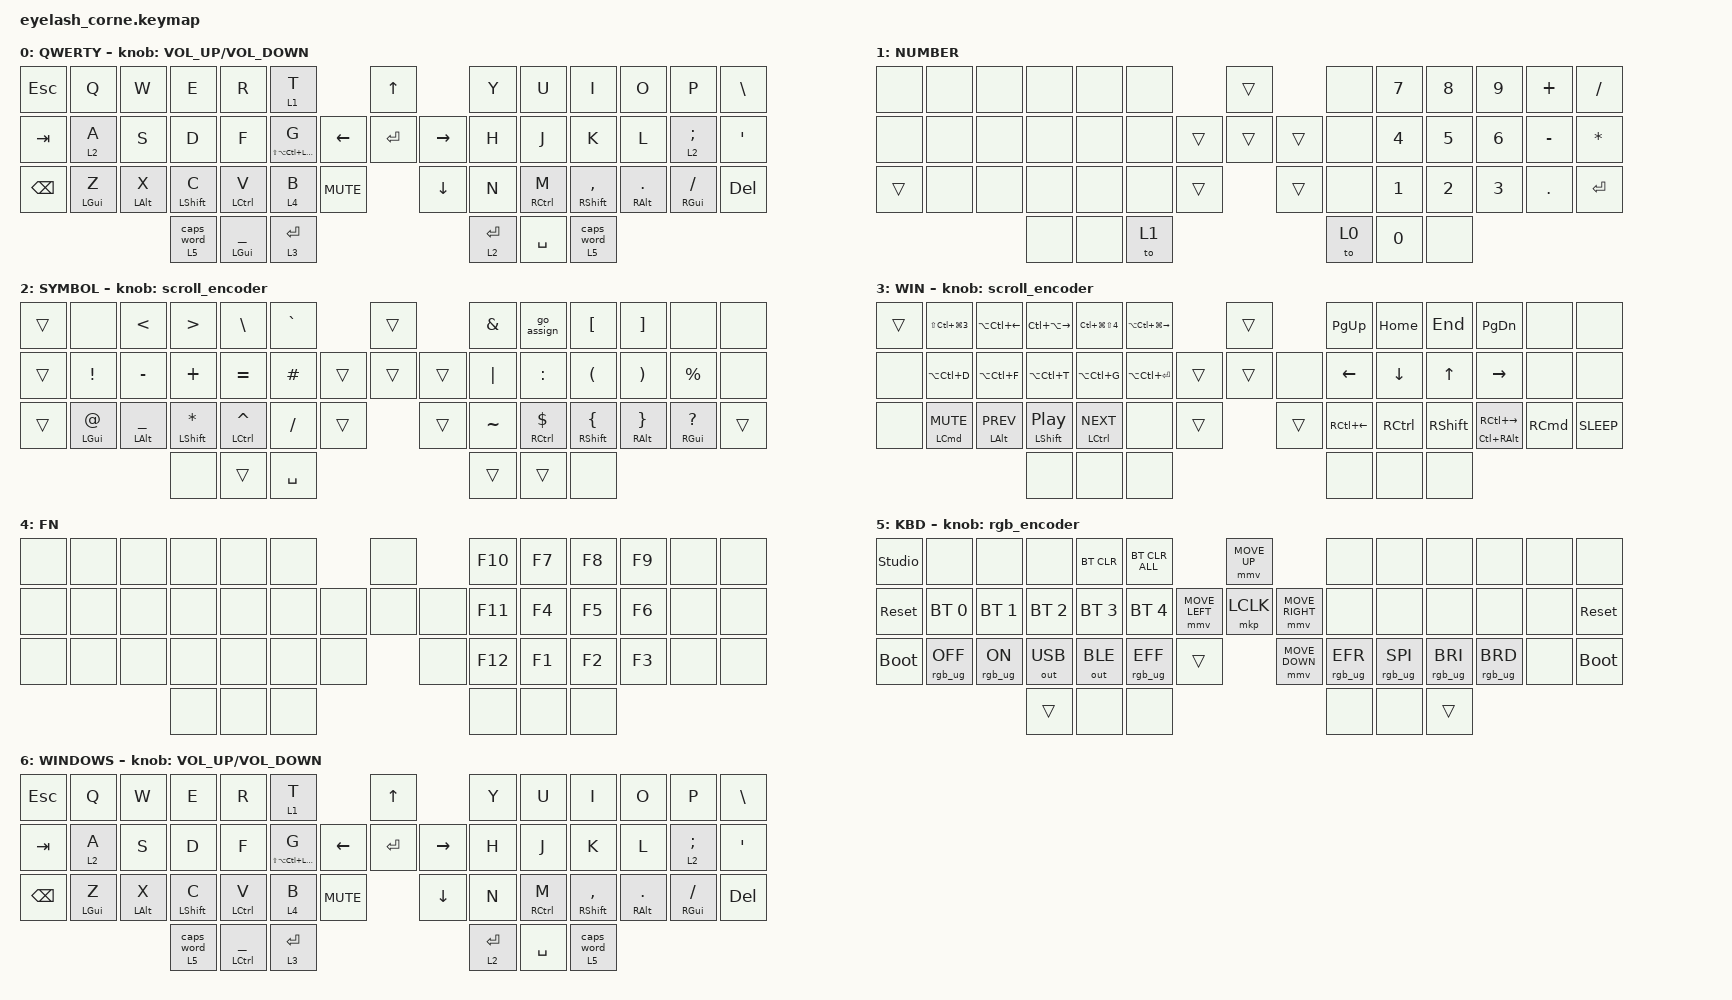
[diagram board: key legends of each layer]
#include <dt-bindings/zmk/mouse.h>
#include <input/processors.dtsi>
#include <behaviors.dtsi>
#include <dt-bindings/zmk/bt.h>
#include <dt-bindings/zmk/keys.h>
#include <dt-bindings/zmk/outputs.h>
#include <dt-bindings/zmk/pointing.h>
#include <dt-bindings/zmk/rgb.h>

/*

   &mmv_input_listener {
       input-processors = <&zip_xy_scaler 2 1>;
   };

   &msc_input_listener {
       input-processors = <&zip_xy_scaler 2 1>;
   };

 */

#define ZMK_MOUSE_DEFAULT_MOVE_VAL 1200  // 600
#define ZMK_MOUSE_DEFAULT_SCRL_VAL 20    // 10

/ {
    behaviors {
        td0: td0 {
            compatible = "zmk,behavior-tap-dance";
            display-name = "Shift/Caps Lock Tap Dance";
            #binding-cells = <0>;
            bindings = <&kp LEFT_SHIFT>, <&kp CAPS>;
        };

        HMR: HMR {
            compatible = "zmk,behavior-hold-tap";
            label = "HMR";
            bindings = <&kp>, <&kp>;

            #binding-cells = <2>;
            tapping-term-ms = <200>;
            quick-tap-ms = <175>;
            flavor = "tap-preferred";
            hold-trigger-key-positions = <0 1 2 3 4 5 13 14 15 16 17 18 28 29 30 31 32 33 42 43 44 45 46 47>;
            hold-trigger-on-release;
            require-prior-idle-ms = <150>;
        };

        HML: HML {
            compatible = "zmk,behavior-hold-tap";
            label = "HML";
            bindings = <&kp>, <&kp>;

            #binding-cells = <2>;
            tapping-term-ms = <200>;
            quick-tap-ms = <175>;
            flavor = "tap-preferred";
            hold-trigger-key-positions = <7 8 10 11 12 22 23 24 25 26 27 36 37 38 39 40 41 46 47 45 42 43 44 9>;
            hold-trigger-on-release;
            require-prior-idle-ms = <150>;
        };

        caps_word_mo: caps_word_mo {
            compatible = "zmk,behavior-hold-tap";
            label = "CAPS_WORD_MO";
            bindings = <&mo>, <&caps_word>;

            #binding-cells = <2>;
            flavor = "balanced";
            tapping-term-ms = <200>;
        };

        nums_word_mo: nums_word_mo {
            compatible = "zmk,behavior-hold-tap";
            label = "NUMS_WORD_MO";
            bindings = <&mo>, <&caps_word>;

            #binding-cells = <2>;
            tapping-term-ms = <200>;
            flavor = "balanced";
        };

        tp: tp {
            compatible = "zmk,behavior-hold-tap";
            label = "tap_preferred";
            bindings = <&kp>, <&kp>;

            #binding-cells = <2>;
            tapping-term-ms = <200>;
            quick-tap-ms = <175>;
            flavor = "tap-preferred";
            require-prior-idle-ms = <150>;
        };
    };

    rgb_encoder: rgb_encoder {
        compatible = "zmk,behavior-sensor-rotate";
        #sensor-binding-cells = <0>;
        bindings = <&rgb_ug RGB_BRI>, <&rgb_ug RGB_BRD>;
    };

    scroll_encoder: scroll_encoder {
        compatible = "zmk,behavior-sensor-rotate";
        #sensor-binding-cells = <0>;
        bindings = <&msc SCRL_DOWN>, <&msc SCRL_UP>;

        tap-ms = <30>;
    };

    combos {
        compatible = "zmk,combos";

        caps_word_hml {
            bindings = <&caps_word>;
            key-positions = <15 16>;
            layers = <0>;
            require-prior-idle-ms = <75>;
        };

        l_bracket {
            bindings = <&kp LEFT_BRACKET>;
            key-positions = <8 9>;
            layers = <0>;
            require-prior-idle-ms = <75>;
        };

        r_bracket {
            bindings = <&kp RIGHT_BRACKET>;
            key-positions = <9 10>;
            layers = <0>;
            require-prior-idle-ms = <75>;
        };

        l_paren {
            bindings = <&kp LEFT_PARENTHESIS>;
            key-positions = <23 24>;
            layers = <0>;
            require-prior-idle-ms = <75>;
        };

        r_paren {
            bindings = <&kp RIGHT_PARENTHESIS>;
            key-positions = <24 25>;
            layers = <0>;
            require-prior-idle-ms = <75>;
        };

        l_brace {
            bindings = <&kp LEFT_BRACE>;
            key-positions = <37 38>;
            layers = <0>;
            require-prior-idle-ms = <75>;
        };

        r_brace {
            bindings = <&kp RIGHT_BRACE>;
            key-positions = <38 39>;
            require-prior-idle-ms = <75>;
            layers = <0>;
        };

        windows {
            bindings = <&to 6>;
            key-positions = <2 3 4>;
            layers = <0>;
        };

        mac {
            bindings = <&to 0>;
            key-positions = <2 3 4>;
            layers = <6>;
        };
    };

    macros {
        go_assign: go_assign {
            compatible = "zmk,behavior-macro";
            #binding-cells = <0>;
            bindings = <&kp RS(SEMICOLON) &kp EQUAL>;
            label = "GO_ASSIGN";
        };
    };

    keymap {
        compatible = "zmk,keymap";

        default_layer {
            display-name = "QWERTY";
            bindings = <
&kp ESCAPE     &kp Q            &kp W            &kp E              &kp R                    &lt 1 T                                             &kp UP                &kp Y        &kp U                 &kp I                   &kp O                  &kp P                 &kp BACKSLASH
&kp TAB        &lt 2 A          &kp S            &kp D              &kp F                    &tp LS(LA(LC(LEFT_GUI))) G                &kp LEFT  &kp ENTER  &kp RIGHT  &kp H        &kp J                 &kp K                   &kp L                  &lt 2 SEMICOLON       &kp SQT
&kp BACKSPACE  &HML LEFT_GUI Z  &HML LEFT_ALT X  &HML LEFT_SHIFT C  &HML LCTRL V             &lt 4 B                     &kp C_MUTE              &kp DOWN              &kp N        &HMR RIGHT_CONTROL M  &HMR RIGHT_SHIFT COMMA  &HMR RIGHT_ALT PERIOD  &HMR RIGHT_GUI SLASH  &kp DELETE
                                                 &caps_word_mo 5 0  &mt LEFT_GUI UNDERSCORE  &lt 3 ENTER                                                               &lt 2 ENTER  &kp SPACE             &nums_word_mo 5 0
            >;

            sensor-bindings = <&inc_dec_kp C_VOLUME_UP C_VOLUME_DOWN>;
        };

        number {
            bindings = <
&none   &none  &none  &none  &none  &none                    &trans          &none  &kp N7        &kp N8        &kp N9        &kp PLUS    &kp SLASH
&none   &none  &none  &none  &none  &none            &trans  &trans  &trans  &none  &kp NUMBER_4  &kp N5        &kp NUMBER_6  &kp MINUS   &kp ASTERISK
&trans  &none  &none  &none  &none  &none  &trans            &trans          &none  &kp NUMBER_1  &kp NUMBER_2  &kp NUMBER_3  &kp PERIOD  &kp ENTER
                      &none  &none  &to 1                                    &to 0  &kp N0        &none
            >;

            label = "NUMBER";
        };

        symbol {
            bindings = <
&trans  &none             &kp LESS_THAN    &kp GREATER_THAN      &kp BACKSLASH     &kp GRAVE                    &trans          &kp AMPS   &go_assign               &kp LEFT_BRACKET             &kp RIGHT_BRACKET      &none                    &none
&trans  &kp EXCLAMATION   &kp MINUS        &kp PLUS              &kp EQUAL         &kp POUND            &trans  &trans  &trans  &kp PIPE   &kp COLON                &kp LEFT_PARENTHESIS         &kp RIGHT_PARENTHESIS  &kp PERCENT              &none
&trans  &HML LEFT_GUI AT  &HML LALT UNDER  &HML LSHIFT ASTERISK  &HML LCTRL CARET  &kp SLASH  &trans            &trans          &kp TILDE  &HMR RIGHT_CONTROL DLLR  &HMR RIGHT_SHIFT LEFT_BRACE  &HMR RALT RIGHT_BRACE  &HMR RIGHT_GUI QUESTION  &trans
                                           &none                 &trans            &kp SPACE                                    &trans     &trans                   &none
            >;

            label = "SYMBOL";
            sensor-bindings = <&scroll_encoder>;
        };

        win {
            bindings = <
&trans  &kp LS(LC(LG(NUMBER_3)))  &kp LA(LC(LEFT))      &kp LC(LA(RIGHT))             &kp LC(LG(LS(NUMBER_4)))  &kp LA(LC(LG(RIGHT)))                    &trans         &kp PAGE_UP   &kp HOME        &kp END       &kp PAGE_DOWN                 &none     &none
&none   &kp LA(LC(D))             &kp LA(LC(F))         &kp LA(LC(T))                 &kp LA(LC(G))             &kp LA(LC(ENTER))                &trans  &trans  &none  &kp LEFT      &kp DOWN_ARROW  &kp UP_ARROW  &kp RIGHT                     &none     &none
&none   &HML LCMD C_MUTE          &HML LEFT_ALT C_PREV  &HML LEFT_SHIFT C_PLAY_PAUSE  &HML LCTRL C_NEXT         &none                  &trans            &trans         &kp RC(LEFT)  &kp RCTRL       &kp RSHIFT    &HMR LC(RIGHT_ALT) RC(RIGHT)  &kp RCMD  &kp C_SLEEP
                                                        &none                         &none                     &none                                                   &none         &none           &none
            >;

            label = "WIN";
            sensor-bindings = <&scroll_encoder>;
        };

        function {
            bindings = <
&none  &none  &none  &none  &none  &none                  &none         &kp F10  &kp F7  &kp F8  &kp F9  &none  &none
&none  &none  &none  &none  &none  &none           &none  &none  &none  &kp F11  &kp F4  &kp F5  &kp F6  &none  &none
&none  &none  &none  &none  &none  &none  &none           &none         &kp F12  &kp F1  &kp F2  &kp F3  &none  &none
                     &none  &none  &none                                &none    &none   &none
            >;

            label = "FN";
        };

        kbd_ctl {
            display-name = "KBD";
            bindings = <
&studio_unlock  &none            &none           &none         &bt BT_CLR    &bt BT_CLR_ALL                             &mmv MOVE_UP                     &none            &none            &none            &none            &none  &none
&sys_reset      &bt BT_SEL 0     &bt BT_SEL 1    &bt BT_SEL 2  &bt BT_SEL 3  &bt BT_SEL 4               &mmv MOVE_LEFT  &mkp LCLK       &mmv MOVE_RIGHT  &none            &none            &none            &none            &none  &sys_reset
&bootloader     &rgb_ug RGB_OFF  &rgb_ug RGB_ON  &out OUT_USB  &out OUT_BLE  &rgb_ug RGB_EFF  &trans                    &mmv MOVE_DOWN                   &rgb_ug RGB_EFR  &rgb_ug RGB_SPI  &rgb_ug RGB_BRI  &rgb_ug RGB_BRD  &none  &bootloader
                                                 &trans        &none         &none                                                                       &none            &none            &trans
            >;

            sensor-bindings = <&rgb_encoder>;
            label = "KBD";
        };

        windows {
            display-name = "WINDOWS";
            bindings = <
&kp ESCAPE     &kp Q            &kp W            &kp E              &kp R                 &lt 1 T                                             &kp UP                &kp Y        &kp U                 &kp I                   &kp O                  &kp P                 &kp BACKSLASH
&kp TAB        &lt 2 A          &kp S            &kp D              &kp F                 &tp LS(LA(LC(LEFT_GUI))) G                &kp LEFT  &kp ENTER  &kp RIGHT  &kp H        &kp J                 &kp K                   &kp L                  &lt 2 SEMICOLON       &kp SQT
&kp BACKSPACE  &HML LEFT_GUI Z  &HML LEFT_ALT X  &HML LEFT_SHIFT C  &HML LCTRL V          &lt 4 B                     &kp C_MUTE              &kp DOWN              &kp N        &HMR RIGHT_CONTROL M  &HMR RIGHT_SHIFT COMMA  &HMR RIGHT_ALT PERIOD  &HMR RIGHT_GUI SLASH  &kp DELETE
                                                 &caps_word_mo 5 0  &mt LCTRL UNDERSCORE  &lt 3 ENTER                                                               &lt 2 ENTER  &kp SPACE             &nums_word_mo 5 0
            >;

            sensor-bindings = <&inc_dec_kp C_VOLUME_UP C_VOLUME_DOWN>;
        };
    };
};
